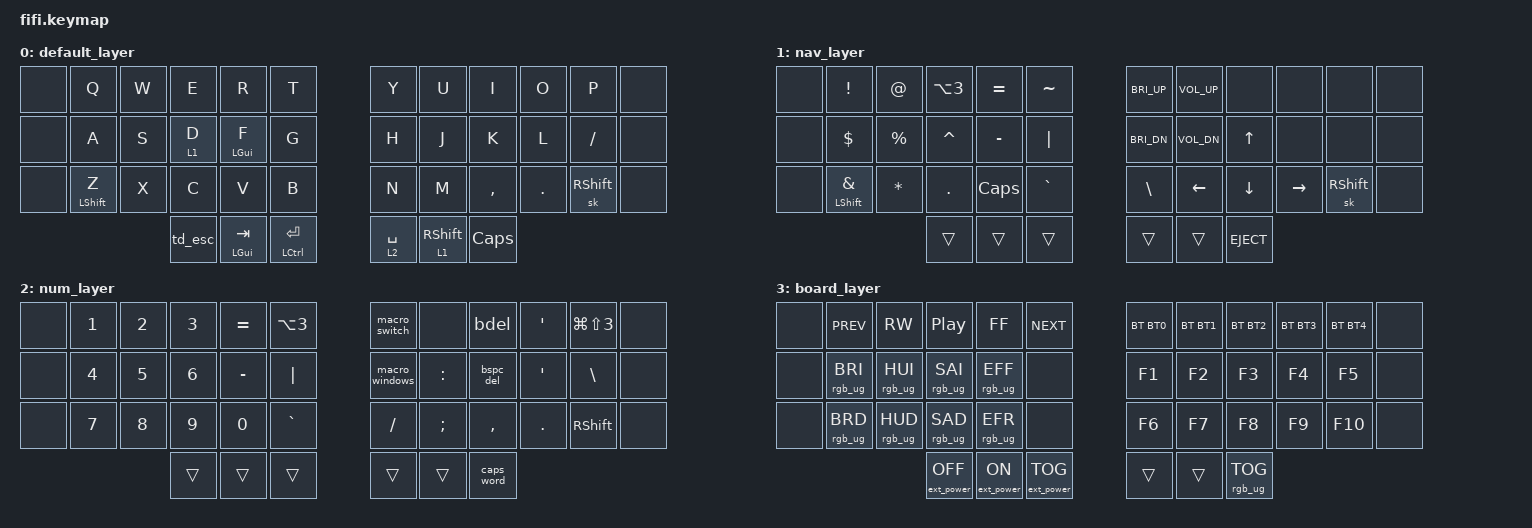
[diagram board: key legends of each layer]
/*
 * Copyright (c) 2020 The ZMK Contributors
 *
 * SPDX-License-Identifier: MIT
 */

#include <behaviors.dtsi>
#include <dt-bindings/zmk/keys.h>
#include <dt-bindings/zmk/bt.h>
#include <dt-bindings/zmk/backlight.h>
#include <dt-bindings/zmk/outputs.h>
#include <dt-bindings/zmk/ext_power.h>
#include <dt-bindings/zmk/rgb.h>
#include <dt-bindings/led/led.h>

/*           40 Keys (Note: my corne is a 5x3; I just ignore the outer columns)
╭─────────────────╮ ╭─────────────────╮
│ 0  1  2  3  4  5│ │ 6  7  8  9 10 11│
│12 13 14 15 16 17│ │18 19 20 21 22 23│
│24 25 26 27 28 29│ │30 31 32 33 34 35│
╰────────╮36 37 38│ │39 40 41 ╭───────╯
         ╰────────╯ ╰─────────╯         */

#define BT0 BT_SEL 0
#define BT1 BT_SEL 1
#define BT2 BT_SEL 2
#define BT3 BT_SEL 3
#define BT4 BT_SEL 4
// #define MO_TOG(layer) &mo_tog layer layer   // Macro to apply momentary-layer-on-hold/toggle-layer-on-tap to a specific layer

// &led_strip {
//    chain-length = <18>;
// };

&mt {
    tapping-term-ms = <500>;
    // retro-tap;
};

&sk {
    release-after-ms = <3000>;
    quick-release;
};

&caps_word {
    continue-list = <UNDERSCORE MINUS SPACE BACKSPACE>;
};

/ {

    combos {
        compatible = "zmk,combos";

	combo_capz {
           timeout-ms = <200>;
           key-positions = <25 26>;
	   layers = <0>;
           bindings = <&kp LS(Z)>;
         };
	 	 
	combo_btclear {
           timeout-ms = <300>;
           key-positions = <21 22>;
           layers = <3>;
           bindings = <&bt BT_CLR>;
         };

	combo_outtog {
           timeout-ms = <300>;
           key-positions = <33 34>;
           layers = <3>;
           bindings = <&out OUT_TOG>;
         };
         
        combo_tog3 {
           timeout-ms = <300>;
           key-positions = <39 40 41>;
	   layers = <0 1 2>;
           bindings = <&tog 3>;
         };

	combo_togReset {
           timeout-ms = <300>;
           key-positions = <39 40 41>;
	   layers = <3>; 
           bindings = <&to 0>;
         };
         
	combo_lpar {
           timeout-ms = <100>;
           key-positions = <4 5>;
           bindings = <&kp LPAR>;
         };
		
	combo_rpar {
           timeout-ms = <100>;
           key-positions = <6 7>;
           bindings = <&kp RPAR>;
         };
		
	combo_lbkt {
           timeout-ms = <100>;
           key-positions = <16 17>;
           bindings = <&kp LBKT>;
         };
		
	combo_rbkt {
           timeout-ms = <100>;
           key-positions = <18 19>;
           bindings = <&kp RBKT>;
         };
		
	combo_lbrc {
           timeout-ms = <100>;
           key-positions = <28 29>;
           bindings = <&kp LBRC>;
         };
		
	combo_rbrc {
           timeout-ms = <100>;
           key-positions = <30 31>;
           bindings = <&kp RBRC>;
         };

	combo_hyper {
           timeout-ms = <50>;
           key-positions = <19 20>;
	   layers = <0 2>;
           bindings = <&sk LG(LS(LA(LCTRL)))>;
         };

	combo_semi {
	   timeout-ms = <30>;
	   key-positions = <8 20>;
	   layers = <0>;
	   bindings = <&kp SEMI>;
	 };

	combo_colon {
	   timeout-ms = <30>;
	   key-positions = <7 19>;
	   layers = <0>;
	   bindings = <&kp COLON>;
	 };

	combo_the {
	   timeout-ms = <30>;
	   layers = <0>;
	   key-positions = <4 16>;
	   bindings = <&macro_the>;
	 };

	combo_cap_the {
	   timeout-ms = <30>;
	   layers = <2>;
	   key-positions = <4 16>;
	   bindings = <&macro_cap_the>;
	 };

	combo_slideover {
	   timeout-ms = <30>;
	   layers = <0>;
	   key-positions = <2 14>;
	   bindings = <&macro_slideover>;
	 };

	combo_apos {
	   timeout-ms = <50>;
	   layers = <0>;
	   key-positions = <20 21>;
	   bindings = <&kp SQT>;
	 };

	combo_skshf {
           timeout-ms = <300>;
           layers = <0>;
           key-positions = <31 32>;
           bindings = <&sk RSHFT>;
         };

	combo_pgup {
	   timeout-ms = <50>;
	   layers = <1>;
	   key-positions = <8 20>;
	   bindings = <&kp PG_UP>;
	 };

	combo_pgdn {
	   timeout-ms = <50>;
	   layers = <1>;
	   key-positions = <20 32>;
	   bindings = <&kp PG_DN>;
	 };

	combo_home {
	   timeout-ms = <50>;
	   layers = <1>;
	   key-positions = <19 20>;
	   bindings = <&kp HOME>;
	 };

	combo_end {
	   timeout-ms = <50>;
	   layers = <1>;
	   key-positions = <20 21>;
	   bindings = <&kp END>;
	 };

	combo_fwd {
	   timeout-ms = <50>;
	   layers = <1>;
	   key-positions = <8 9>;
	   bindings = <&kp C_FF>;
	 };

	combo_rwd {
	   timeout-ms = <50>;
	   layers = <1>;
	   key-positions = <7 8>;
	   bindings = <&kp C_RW>;
	 };

	combo_play {
	   timeout-ms = <50>;
	   layers = <1>;
	   key-positions = <7 8 9>;
	   bindings = <&kp C_PP>;
	 };

     };
     
     behaviors {

	td_esc: tap_dance_esc {
            compatible = "zmk,behavior-tap-dance";
            label = "TAP_DANCE_ESC";
            #binding-cells = <0>;
            tapping-term-ms = <200>;
            bindings = <&kp LALT>, <&kp ESC>;
        };

	macro_slideover: macro_slideover {
            label = "ZM_macro_slideover";
            compatible = "zmk,behavior-macro";
            #binding-cells = <0>;
            bindings
                = <&macro_press &kp CAPS>
                , <&macro_tap &kp BSLH>
                , <&macro_release &kp CAPS>
                ;
        };

	macro_windows: macro_windows {
            label = "ZM_macro_windows";
            compatible = "zmk,behavior-macro";
            #binding-cells = <0>;
            bindings
                = <&macro_press &kp CAPS>
                , <&macro_tap &kp DOWN>
                , <&macro_release &kp CAPS>
                ;
        };

	macro_switch: macro_switch {
            label = "ZM_macro_switch";
            compatible = "zmk,behavior-macro";
            #binding-cells = <0>;
            bindings
                = <&macro_press &kp CAPS>
                , <&macro_tap &kp GRAVE>
                , <&macro_release &kp CAPS>
                ;
        };

        macro_cap_the: macro_cap_the {
            label = "ZM_macro_cap_the";
            compatible = "zmk,behavior-macro";
            #binding-cells = <0>;
            bindings
                = <&macro_press &kp LSHFT>
                , <&macro_tap &kp T>
                , <&macro_release &kp LSHFT>
		, <&macro_tap &kp H &kp E &kp SPACE>
                ;
        };

	ZMK_MACRO(macro_the,
            wait-ms = <30>;
	    tap-ms = <40>;
            bindings = <&kp T &kp H &kp E &kp SPACE>;
    	)

	ZMK_MACRO(macro_sbreak,
            wait-ms = <30>;
	    tap-ms = <40>;
            bindings = <&kp DOT &kp SPACE &sk RSHFT>;
    	)

	back: altback {
	    compatible = "zmk,behavior-mod-morph";
            label      = "ALT_BACK";
            #binding-cells = <0>;
            bindings  = <&bdel>, <&kp BSPC>;
            mods      = <(MOD_LGUI | MOD_RGUI)>;
	};

	bdel: backdelete {
            compatible = "zmk,behavior-mod-morph";
            label      = "BACK_DEL";
            #binding-cells = <0>;
            bindings = <&kp LA(BSPC)>, <&kp LA(DEL)>;
            mods     = <(MOD_LSFT | MOD_RSFT)>;
	};

	hm: homerow_mods {
            compatible = "zmk,behavior-hold-tap";
            label = "HOMEROW_MODS";
            #binding-cells = <2>;
            tapping-term-ms = <300>;
            quick-tap-ms = <0>;
            flavor = "tap-preferred";
            bindings = <&kp>, <&kp>;
        };

	bspc_del: backspace_delete {
            compatible = "zmk,behavior-mod-morph";
            label = "BACKSPACE_DELETE";
            #binding-cells = <0>;
            bindings = <&kp BACKSPACE>, <&kp DELETE>;
            mods = <(MOD_LSFT|MOD_RSFT)>;
        };

	ht_b: holdtap_balanced {
            compatible = "zmk,behavior-hold-tap";
            label = "HOLD_TAP"; 
            #binding-cells = <2>;
            tapping-term-ms = <650>;
            flavor = "hold-preferred";
            bindings = <&kp>, <&kp>;
        };

	ht_hl: holdtap_homerowlayer {
            compatible = "zmk,behavior-hold-tap";
            label = "HOLDTAP_HOMELAY"; 
            #binding-cells = <2>;
            tapping-term-ms = <400>;
            flavor = "tap-preferred";
	    require-prior-idle-ms = <125>;
            bindings = <&mo>, <&kp>;
        };

	ht_ls: holdtap_layershift {
            compatible = "zmk,behavior-hold-tap";
            label = "HOLDTAP_LAYERSHIFT";
            #binding-cells = <2>;
            tapping-term-ms = <150>;
            quick-tap-ms = <0>;
            flavor = "balanced";
            bindings = <&mo>, <&sk>;
        };
	
    };

        keymap {
                compatible = "zmk,keymap";

                default_layer {
// -----------------------------------------------------------------------------------------
// |  TAB |  Q  |  W  |  E  |  R       |    T     |   |  Y  |  U   |  I  |  O  |  P  | BKSP      |
// | CAPS |  A  |  S  |  D  |  F       |    G     |   |  H  |  J   |  K  |  L  |  ;  |  '        |
// | SHFT |  Z  |  X  |  C  |  V       |    B     |   |  N  |  M   |  ,  |  .  |  /  | SHFT/CAPW |
//                    | ALT (ESC) | CMD (ALT) | CTL(ENT) |   | SPC | FN2  | FN1 |
                        bindings = <
   &none   &kp Q    		&kp W    	&kp E       	&kp R      	&kp T          		&kp Y   	&kp U    	&kp I       	&kp O    	&kp P     	   	&none
   &none   &kp A    		&kp S    	&ht_hl 1 D     	&hm LGUI F      &kp G          		&kp H   	&kp J    	&kp K       	&kp L    	&kp FSLH  	   	&none
   &none   &ht_b LSHIFT Z    	&kp X    	&kp C       	&kp V      	&kp B          		&kp N   	&kp M    	&kp COMMA   	&kp DOT  	&sk RSHFT   		&none
                                		&td_esc	   	&mt LGUI TAB  	&mt LCTRL RET  		&lt 2 SPACE	&ht_ls 1 RSHFT	&kp CAPS 
                        >;
                };
                nav_layer {
// -----------------------------------------------------------------------------------------
// |   TAB |  1  |  2  |  3  |  4  |    5     |   |  6  |  7  |  8   |   9  |   0   | BKSP      |
// | EJECT |  4  |  5  |  6  |  `  |    -     |   |     |     |      |  UP  |   \   |   `       |
// |  SHFT |  7  |  8  |  9  |  0  |    =     |   |     |     | LEFT | DOWN | RIGHT | SHFT/CAPW |
//                     | ALT | CMD | CTL(ENT) |   | SPC | FN3 |  FN1 |
                        bindings = <
   &none   &kp EXCL		&kp AT   	&kp LA(N3)     	&kp EQUAL      	&kp TILDE  		&kp C_BRI_UP	&kp C_VOL_UP	&none	        &none		&none   		&none    
   &none   &kp DLLR		&kp PRCNT  	&kp CARET   	&kp MINUS	&kp PIPE  		&kp C_BRI_DN	&kp C_VOL_DN	&kp UP		&none		&none			&none       	
   &none   &ht_b LSHIFT AMPS	&kp STAR  	&kp DOT		&kp CAPS	&kp GRAVE		&kp BSLH	&kp LEFT    	&kp DOWN	&kp RIGHT	&sk RSHFT		&none
                                		&trans  	&trans		&trans			&trans   	&trans   	&kp C_EJECT
                        >;
                };

		num_layer {
// -----------------------------------------------------------------------------------------
// |    |  1  |  2  |  3  |  4  |    5     |   |  6  |  7  |  8   |   9  |   0   | BKSP      |
// |    |  4  |  5  |  6  |  `  |    -     |   |     |     |      |  UP  |   \   |   `       |
// |    |  7  |  8  |  9  |  0  |    =     |   |     |     | LEFT | DOWN | RIGHT | SHFT/CAPW |
//                     | ALT | CMD | CTL(ENT) |   | SPC | FN3 |  FN1 |
                        bindings = <
   &none   &kp N1  		&kp N2  	&kp N3    	&kp EQUAL	&kp LA(N3)    		&macro_switch	&none		&bdel  		&kp SQT		&kp LG(LS(NUMBER_3))   	&none    
   &none   &kp N4  		&kp N5		&kp N6  	&kp MINUS      	&kp PIPE  		&macro_windows	&kp COLON	&bspc_del  	&kp SQT		&kp BSLH		&none       
   &none   &kp N7 		&kp N8		&kp N9		&kp N0  	&kp GRAVE		&kp FSLH	&kp SEMI	&kp COMMA  	&kp DOT		&kp RSHFT		&none
                                		&trans  	&trans		&trans			&trans   	&trans  	&caps_word
                        >;
                };
		
		board_layer {
// -----------------------------------------------------------------------------------------
// | ESC     | PRVS  | RWND  | PLAY  	| MFFD    | NEXT    |   | BT1     | BT2   | BT3   | BT4   | BT5   | BT_CLR  |
// | RGB_TOG | BRI + | HUE + | SAT + 	| EFF +   | VOL+    |   |         |       |       |       |       | OUT_TOG |
// |         | BRI - | HUE - | SAT - 	| EFF -   | VOL-    |   |   	  |       |       |       |       |         |
//                           | PWR_OFF  | PWR_OFF | PWR_TOG	| 	| 		  |       |       |
                        bindings = <
   &none   &kp C_PREV       &kp C_RW         &kp C_PP          &kp C_FF		&kp C_NEXT		&bt BT0 	&bt BT1			&bt BT2 	&bt BT3		&bt BT4			&none
   &none   &rgb_ug RGB_BRI  &rgb_ug RGB_HUI  &rgb_ug RGB_SAI   &rgb_ug RGB_EFF	&none			&kp F1 		&kp F2   		&kp F3		&kp F4		&kp F5			&none	 
   &none   &rgb_ug RGB_BRD  &rgb_ug RGB_HUD  &rgb_ug RGB_SAD   &rgb_ug RGB_EFR	&none			&kp F6		&kp F7   		&kp F8  	&kp F9		&kp F10			&none	 
                                          &ext_power EP_OFF &ext_power EP_ON &ext_power EP_TOG  	&trans  	&trans  		&rgb_ug RGB_TOG
                        >;
                };
		
        };
};
